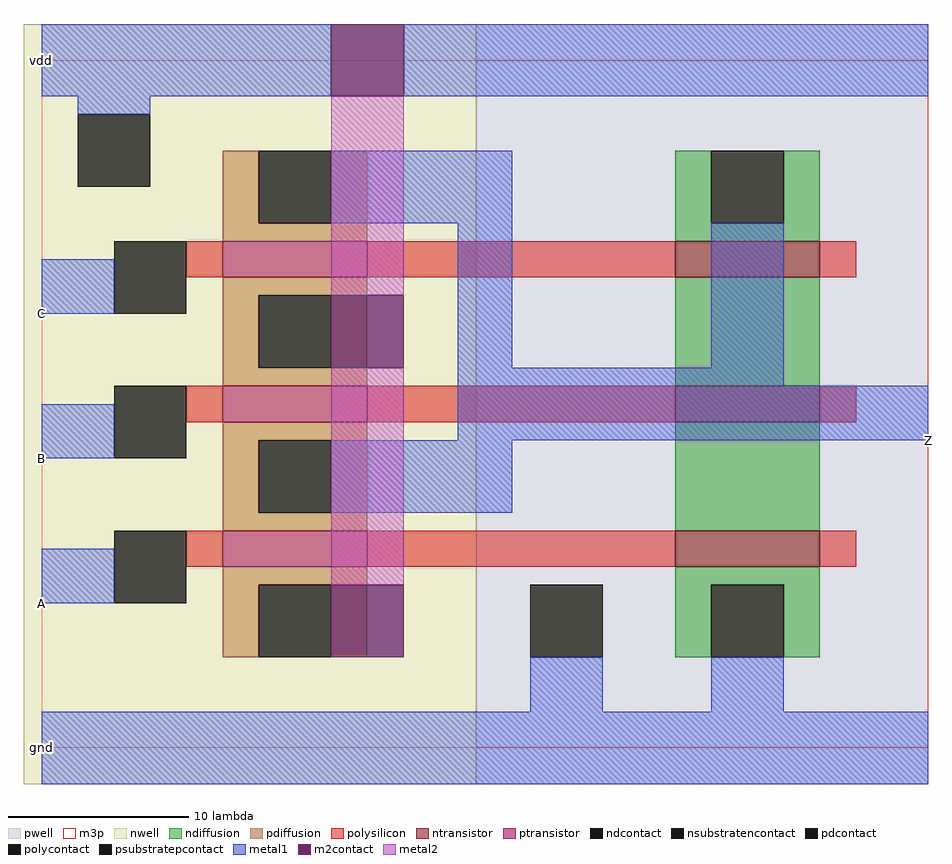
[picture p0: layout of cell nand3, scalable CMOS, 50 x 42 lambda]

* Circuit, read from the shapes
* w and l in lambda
.subckt nand3 A B C Z gnd vdd
M1 n1 A gnd gnd nfet w=8 l=2
M2 n2 B n1 gnd nfet w=8 l=2
M3 Z C n2 gnd nfet w=8 l=2
M4 Z A vdd vdd pfet w=8 l=2
M5 vdd B Z vdd pfet w=8 l=2
M6 Z C vdd vdd pfet w=8 l=2
.ends

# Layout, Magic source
magic
tech scmos
<< nwell >>
rect -1 -2 24 40
<< pwell >>
rect 24 -2 49 40
<< ntransistor >>
rect 35 26 43 28
rect 35 18 43 20
rect 35 10 43 12
<< ptransistor >>
rect 10 26 18 28
rect 10 18 18 20
rect 10 10 18 12
<< ndiffusion >>
rect 35 29 37 33
rect 41 29 43 33
rect 35 28 43 29
rect 35 20 43 26
rect 35 12 43 18
rect 35 9 43 10
rect 35 5 37 9
rect 41 5 43 9
<< pdiffusion >>
rect 10 29 12 33
rect 16 29 18 33
rect 10 28 18 29
rect 10 25 18 26
rect 10 21 12 25
rect 16 21 18 25
rect 10 20 18 21
rect 10 17 18 18
rect 10 13 12 17
rect 16 13 18 17
rect 10 12 18 13
rect 10 9 18 10
rect 10 5 12 9
rect 16 5 18 9
<< ndcontact >>
rect 37 29 41 33
rect 37 5 41 9
<< pdcontact >>
rect 12 29 16 33
rect 12 21 16 25
rect 12 13 16 17
rect 12 5 16 9
<< psubstratepcontact >>
rect 27 5 31 9
<< nsubstratencontact >>
rect 2 31 6 35
<< polysilicon >>
rect 8 26 10 28
rect 18 26 35 28
rect 43 26 45 28
rect 8 18 10 20
rect 18 18 35 20
rect 43 18 45 20
rect 8 10 10 12
rect 18 10 35 12
rect 43 10 45 12
<< polycontact >>
rect 4 24 8 28
rect 4 16 8 20
rect 4 8 8 12
<< metal1 >>
rect 0 36 16 40
rect 20 36 49 40
rect 2 35 6 36
rect 16 29 26 33
rect 0 24 4 27
rect 23 21 26 29
rect 37 21 41 29
rect 23 20 41 21
rect 0 16 4 19
rect 23 17 49 20
rect 16 13 26 17
rect 0 8 4 11
rect 27 2 31 5
rect 37 2 41 5
rect 0 -2 49 2
<< m2contact >>
rect 16 36 20 40
rect 16 21 20 25
rect 16 5 20 9
<< metal2 >>
rect 16 25 20 36
rect 16 9 20 21
<< m3p >>
rect 0 0 49 38
<< labels >>
rlabel metal1 0 0 0 0 1 gnd
rlabel metal1 0 38 0 38 1 vdd
rlabel metal1 0 8 0 8 1 A
rlabel metal1 0 16 0 16 1 B
rlabel metal1 0 24 0 24 1 C
rlabel metal1 49 17 49 17 7 Z
<< end >>
